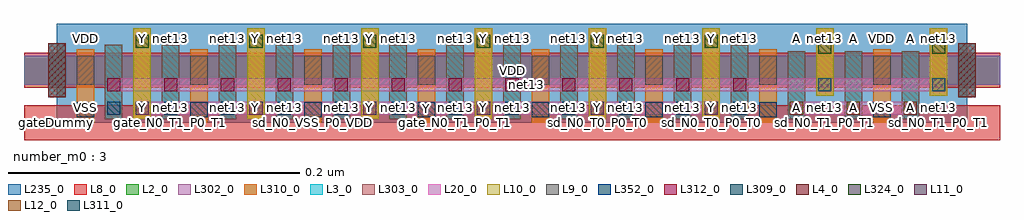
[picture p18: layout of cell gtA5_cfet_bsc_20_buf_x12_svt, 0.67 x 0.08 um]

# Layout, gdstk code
import gdstk
lib = gdstk.Library(unit=1e-6, precision=2.5e-10)
def R(c, l, rs):  # rectangles x0, y0, x1, y1
    for r in rs: c.add(gdstk.rectangle(r[:2], r[2:], *l))
def A(c, l, x, y, w, h, nx, ny, dx, dy):  # array of equal rectangles
    R(c, l, [(x+i*dx, y+j*dy, x+i*dx+w, y+j*dy+h) for i in range(nx) for j in range(ny)])
L2_0 = (2, 0)
L3_0 = (3, 0)
L4_0 = (4, 0)
L8_0 = (8, 0)
L9_0 = (9, 0)
L10_0 = (10, 0)
L11_0 = (11, 0)
L12_0 = (12, 0)
L20_0 = (20, 0)
L235_0 = (235, 0)
L302_0 = (302, 0)
L303_0 = (303, 0)
L309_0 = (309, 0)
L310_0 = (310, 0)
L311_0 = (311, 0)
L312_0 = (312, 0)
L324_0 = (324, 0)
L352_0 = (352, 0)

gta5_cfet_bsc_20_buf_x12 = lib.new_cell('gtA5_cfet_bsc_20_buf_x12_svt')
R(gta5_cfet_bsc_20_buf_x12, L2_0, [(-0.0225,0.026,0.6465,0.046)])
A(gta5_cfet_bsc_20_buf_x12, L3_0, 0.033, 0.0025, 0.012, 0.051, 12, 1, 0.039, 0)
A(gta5_cfet_bsc_20_buf_x12, L3_0, 0.501, 0.0025, 0.012, 0.0465, 3, 1, 0.039, 0)
R(gta5_cfet_bsc_20_buf_x12, L3_0, [(-0.006,0.0175,0.006,0.0545), (0.618,0.0175,0.63,0.0545)])
R(gta5_cfet_bsc_20_buf_x12, L4_0, [(-0.006,0.0175,0.006,0.0545), (0.618,0.0175,0.63,0.0545)])
R(gta5_cfet_bsc_20_buf_x12, L8_0, [(-0.0225,-0.012,0.6465,0.012), (-0.0225,0.024,0.6465,0.048)])
A(gta5_cfet_bsc_20_buf_x12, L9_0, 0.0135, 0.026, 0.012, 0.02, 8, 1, 0.078, 0)
A(gta5_cfet_bsc_20_buf_x12, L10_0, 0.0525, 0.0025, 0.012, 0.0625, 6, 1, 0.078, 0)
R(gta5_cfet_bsc_20_buf_x12, L10_0, [(0.5205,0.0185,0.5325,0.065), (0.5985,0.0185,0.6105,0.065)])
A(gta5_cfet_bsc_20_buf_x12, L11_0, 0.054, 0.0055, 0.009, 0.009, 6, 1, 0.078, 0)
A(gta5_cfet_bsc_20_buf_x12, L12_0, 0.5025, 0.0055, 0.009, 0.009, 3, 1, 0.039, 0)
R(gta5_cfet_bsc_20_buf_x12, L20_0, [(0.054,0.0055,0.453,0.0145), (0.5025,0.0055,0.5895,0.0145), (0.0345,0.0215,0.609,0.0305)])
R(gta5_cfet_bsc_20_buf_x12, L235_0, [(0,0,0.624,0.068)])
R(gta5_cfet_bsc_20_buf_x12, L302_0, [(-0.0225,0.026,0.6465,0.046)])
A(gta5_cfet_bsc_20_buf_x12, L303_0, 0.033, 0.0025, 0.012, 0.051, 12, 1, 0.039, 0)
A(gta5_cfet_bsc_20_buf_x12, L303_0, 0.501, 0.0025, 0.012, 0.0465, 3, 1, 0.039, 0)
R(gta5_cfet_bsc_20_buf_x12, L303_0, [(-0.006,0.0175,0.006,0.0545), (0.618,0.0175,0.63,0.0545)])
A(gta5_cfet_bsc_20_buf_x12, L309_0, 0.0135, 0.004, 0.012, 0.01, 8, 1, 0.078, 0)
A(gta5_cfet_bsc_20_buf_x12, L310_0, 0.0135, 0, 0.012, 0.0505, 8, 1, 0.078, 0)
A(gta5_cfet_bsc_20_buf_x12, L310_0, 0.0525, 0.0025, 0.012, 0.0625, 6, 1, 0.078, 0)
R(gta5_cfet_bsc_20_buf_x12, L310_0, [(0.5205,0.0185,0.5325,0.065), (0.5985,0.0185,0.6105,0.065)])
R(gta5_cfet_bsc_20_buf_x12, L311_0, [(0.522,0.0215,0.531,0.0305), (0.6,0.0215,0.609,0.0305)])
A(gta5_cfet_bsc_20_buf_x12, L312_0, 0.0345, 0.0215, 0.009, 0.009, 12, 1, 0.039, 0)
A(gta5_cfet_bsc_20_buf_x12, L324_0, 0.054, 0.0515, 0.009, 0.009, 6, 1, 0.078, 0)
R(gta5_cfet_bsc_20_buf_x12, L324_0, [(0.522,0.0475,0.531,0.0565), (0.6,0.0475,0.609,0.0565)])
A(gta5_cfet_bsc_20_buf_x12, L352_0, 0.0345, 0.0055, 0.009, 0.009, 12, 1, 0.039, 0)
gta5_cfet_bsc_20_buf_x12.add(gdstk.Label('net13', (0.3217,0.026), layer=100, texttype=100))
gta5_cfet_bsc_20_buf_x12.add(gdstk.Label('gateDummy', (0,0), layer=103, texttype=103))
gta5_cfet_bsc_20_buf_x12.add(gdstk.Label('sd_N0_VSS_P0_VDD', (0.0195,0), layer=103, texttype=103))
gta5_cfet_bsc_20_buf_x12.add(gdstk.Label('gate_N0_T1_P0_T1', (0.039,0), layer=103, texttype=103))
gta5_cfet_bsc_20_buf_x12.add(gdstk.Label('sd_N0_T0_P0_T0', (0.0585,0), layer=103, texttype=103))
gta5_cfet_bsc_20_buf_x12.add(gdstk.Label('gate_N0_T1_P0_T1', (0.078,0), layer=103, texttype=103))
gta5_cfet_bsc_20_buf_x12.add(gdstk.Label('sd_N0_VSS_P0_VDD', (0.0975,0), layer=103, texttype=103))
gta5_cfet_bsc_20_buf_x12.add(gdstk.Label('gate_N0_T1_P0_T1', (0.117,0), layer=103, texttype=103))
gta5_cfet_bsc_20_buf_x12.add(gdstk.Label('sd_N0_T0_P0_T0', (0.1365,0), layer=103, texttype=103))
gta5_cfet_bsc_20_buf_x12.add(gdstk.Label('gate_N0_T1_P0_T1', (0.156,0), layer=103, texttype=103))
gta5_cfet_bsc_20_buf_x12.add(gdstk.Label('sd_N0_VSS_P0_VDD', (0.1755,0), layer=103, texttype=103))
gta5_cfet_bsc_20_buf_x12.add(gdstk.Label('gate_N0_T1_P0_T1', (0.195,0), layer=103, texttype=103))
gta5_cfet_bsc_20_buf_x12.add(gdstk.Label('sd_N0_T0_P0_T0', (0.2145,0), layer=103, texttype=103))
gta5_cfet_bsc_20_buf_x12.add(gdstk.Label('gate_N0_T1_P0_T1', (0.234,0), layer=103, texttype=103))
gta5_cfet_bsc_20_buf_x12.add(gdstk.Label('sd_N0_VSS_P0_VDD', (0.2535,0), layer=103, texttype=103))
gta5_cfet_bsc_20_buf_x12.add(gdstk.Label('gate_N0_T1_P0_T1', (0.273,0), layer=103, texttype=103))
gta5_cfet_bsc_20_buf_x12.add(gdstk.Label('sd_N0_T0_P0_T0', (0.2925,0), layer=103, texttype=103))
gta5_cfet_bsc_20_buf_x12.add(gdstk.Label('gate_N0_T1_P0_T1', (0.312,0), layer=103, texttype=103))
gta5_cfet_bsc_20_buf_x12.add(gdstk.Label('sd_N0_VSS_P0_VDD', (0.3315,0), layer=103, texttype=103))
gta5_cfet_bsc_20_buf_x12.add(gdstk.Label('gate_N0_T1_P0_T1', (0.351,0), layer=103, texttype=103))
gta5_cfet_bsc_20_buf_x12.add(gdstk.Label('sd_N0_T0_P0_T0', (0.3705,0), layer=103, texttype=103))
gta5_cfet_bsc_20_buf_x12.add(gdstk.Label('gate_N0_T1_P0_T1', (0.39,0), layer=103, texttype=103))
gta5_cfet_bsc_20_buf_x12.add(gdstk.Label('sd_N0_VSS_P0_VDD', (0.4095,0), layer=103, texttype=103))
gta5_cfet_bsc_20_buf_x12.add(gdstk.Label('gate_N0_T1_P0_T1', (0.429,0), layer=103, texttype=103))
gta5_cfet_bsc_20_buf_x12.add(gdstk.Label('sd_N0_T0_P0_T0', (0.4485,0), layer=103, texttype=103))
gta5_cfet_bsc_20_buf_x12.add(gdstk.Label('gate_N0_T1_P0_T1', (0.468,0), layer=103, texttype=103))
gta5_cfet_bsc_20_buf_x12.add(gdstk.Label('sd_N0_VSS_P0_VDD', (0.4875,0), layer=103, texttype=103))
gta5_cfet_bsc_20_buf_x12.add(gdstk.Label('gate_N0_T0_P0_T0', (0.507,0), layer=103, texttype=103))
gta5_cfet_bsc_20_buf_x12.add(gdstk.Label('sd_N0_T1_P0_T1', (0.5265,0), layer=103, texttype=103))
gta5_cfet_bsc_20_buf_x12.add(gdstk.Label('gate_N0_T0_P0_T0', (0.546,0), layer=103, texttype=103))
gta5_cfet_bsc_20_buf_x12.add(gdstk.Label('sd_N0_VSS_P0_VDD', (0.5655,0), layer=103, texttype=103))
gta5_cfet_bsc_20_buf_x12.add(gdstk.Label('gate_N0_T0_P0_T0', (0.585,0), layer=103, texttype=103))
gta5_cfet_bsc_20_buf_x12.add(gdstk.Label('sd_N0_T1_P0_T1', (0.6045,0), layer=103, texttype=103))
gta5_cfet_bsc_20_buf_x12.add(gdstk.Label('gateDummy', (0.624,0), layer=103, texttype=103))
gta5_cfet_bsc_20_buf_x12.add(gdstk.Label('}', (0,-0.0742), layer=104, texttype=104))
gta5_cfet_bsc_20_buf_x12.add(gdstk.Label('  power : None', (0,-0.0675), layer=104, texttype=104))
gta5_cfet_bsc_20_buf_x12.add(gdstk.Label('  performance : None', (0,-0.0607), layer=104, texttype=104))
gta5_cfet_bsc_20_buf_x12.add(gdstk.Label("  solution_hash : '11461246453546149846'", (0,-0.054), layer=104, texttype=104))
gta5_cfet_bsc_20_buf_x12.add(gdstk.Label('  number_m2 : 0', (0,-0.0473), layer=104, texttype=104))
gta5_cfet_bsc_20_buf_x12.add(gdstk.Label('  number_m1 : 0', (0,-0.0405), layer=104, texttype=104))
gta5_cfet_bsc_20_buf_x12.add(gdstk.Label('  number_m0cuts : 0', (0,-0.0338), layer=104, texttype=104))
gta5_cfet_bsc_20_buf_x12.add(gdstk.Label('  number_m0 : 3', (0,-0.027), layer=104, texttype=104))
gta5_cfet_bsc_20_buf_x12.add(gdstk.Label("  solution_number : '0000'", (0,-0.0203), layer=104, texttype=104))
gta5_cfet_bsc_20_buf_x12.add(gdstk.Label("  placement_id : '15716243056672750085'", (0,-0.0135), layer=104, texttype=104))
gta5_cfet_bsc_20_buf_x12.add(gdstk.Label('{', (0,-0.0067), layer=104, texttype=104))
gta5_cfet_bsc_20_buf_x12.add(gdstk.Label('VSS', (0.0195,0.0103), layer=105, texttype=105))
gta5_cfet_bsc_20_buf_x12.add(gdstk.Label('net13', (0.039,0.0103), layer=105, texttype=105))
gta5_cfet_bsc_20_buf_x12.add(gdstk.Label('Y', (0.0585,0.0103), layer=105, texttype=105))
gta5_cfet_bsc_20_buf_x12.add(gdstk.Label('net13', (0.078,0.0103), layer=105, texttype=105))
gta5_cfet_bsc_20_buf_x12.add(gdstk.Label('VSS', (0.0975,0.0103), layer=105, texttype=105))
gta5_cfet_bsc_20_buf_x12.add(gdstk.Label('net13', (0.117,0.0103), layer=105, texttype=105))
gta5_cfet_bsc_20_buf_x12.add(gdstk.Label('Y', (0.1365,0.0103), layer=105, texttype=105))
gta5_cfet_bsc_20_buf_x12.add(gdstk.Label('net13', (0.156,0.0103), layer=105, texttype=105))
gta5_cfet_bsc_20_buf_x12.add(gdstk.Label('VSS', (0.1755,0.0103), layer=105, texttype=105))
gta5_cfet_bsc_20_buf_x12.add(gdstk.Label('net13', (0.195,0.0103), layer=105, texttype=105))
gta5_cfet_bsc_20_buf_x12.add(gdstk.Label('Y', (0.2145,0.0103), layer=105, texttype=105))
gta5_cfet_bsc_20_buf_x12.add(gdstk.Label('net13', (0.234,0.0103), layer=105, texttype=105))
gta5_cfet_bsc_20_buf_x12.add(gdstk.Label('VSS', (0.2535,0.0103), layer=105, texttype=105))
gta5_cfet_bsc_20_buf_x12.add(gdstk.Label('net13', (0.273,0.0103), layer=105, texttype=105))
gta5_cfet_bsc_20_buf_x12.add(gdstk.Label('Y', (0.2925,0.0103), layer=105, texttype=105))
gta5_cfet_bsc_20_buf_x12.add(gdstk.Label('net13', (0.312,0.0103), layer=105, texttype=105))
gta5_cfet_bsc_20_buf_x12.add(gdstk.Label('VSS', (0.3315,0.0103), layer=105, texttype=105))
gta5_cfet_bsc_20_buf_x12.add(gdstk.Label('net13', (0.351,0.0103), layer=105, texttype=105))
gta5_cfet_bsc_20_buf_x12.add(gdstk.Label('Y', (0.3705,0.0103), layer=105, texttype=105))
gta5_cfet_bsc_20_buf_x12.add(gdstk.Label('net13', (0.39,0.0103), layer=105, texttype=105))
gta5_cfet_bsc_20_buf_x12.add(gdstk.Label('VSS', (0.4095,0.0103), layer=105, texttype=105))
gta5_cfet_bsc_20_buf_x12.add(gdstk.Label('net13', (0.429,0.0103), layer=105, texttype=105))
gta5_cfet_bsc_20_buf_x12.add(gdstk.Label('Y', (0.4485,0.0103), layer=105, texttype=105))
gta5_cfet_bsc_20_buf_x12.add(gdstk.Label('net13', (0.468,0.0103), layer=105, texttype=105))
gta5_cfet_bsc_20_buf_x12.add(gdstk.Label('VSS', (0.4875,0.0103), layer=105, texttype=105))
gta5_cfet_bsc_20_buf_x12.add(gdstk.Label('A', (0.507,0.0103), layer=105, texttype=105))
gta5_cfet_bsc_20_buf_x12.add(gdstk.Label('net13', (0.5265,0.0103), layer=105, texttype=105))
gta5_cfet_bsc_20_buf_x12.add(gdstk.Label('A', (0.546,0.0103), layer=105, texttype=105))
gta5_cfet_bsc_20_buf_x12.add(gdstk.Label('VSS', (0.5655,0.0103), layer=105, texttype=105))
gta5_cfet_bsc_20_buf_x12.add(gdstk.Label('A', (0.585,0.0103), layer=105, texttype=105))
gta5_cfet_bsc_20_buf_x12.add(gdstk.Label('net13', (0.6045,0.0103), layer=105, texttype=105))
gta5_cfet_bsc_20_buf_x12.add(gdstk.Label('VDD', (0.0195,0.0578), layer=105, texttype=105))
gta5_cfet_bsc_20_buf_x12.add(gdstk.Label('net13', (0.039,0.0578), layer=105, texttype=105))
gta5_cfet_bsc_20_buf_x12.add(gdstk.Label('Y', (0.0585,0.0578), layer=105, texttype=105))
gta5_cfet_bsc_20_buf_x12.add(gdstk.Label('net13', (0.078,0.0578), layer=105, texttype=105))
gta5_cfet_bsc_20_buf_x12.add(gdstk.Label('VDD', (0.0975,0.0578), layer=105, texttype=105))
gta5_cfet_bsc_20_buf_x12.add(gdstk.Label('net13', (0.117,0.0578), layer=105, texttype=105))
gta5_cfet_bsc_20_buf_x12.add(gdstk.Label('Y', (0.1365,0.0578), layer=105, texttype=105))
gta5_cfet_bsc_20_buf_x12.add(gdstk.Label('net13', (0.156,0.0578), layer=105, texttype=105))
gta5_cfet_bsc_20_buf_x12.add(gdstk.Label('VDD', (0.1755,0.0578), layer=105, texttype=105))
gta5_cfet_bsc_20_buf_x12.add(gdstk.Label('net13', (0.195,0.0578), layer=105, texttype=105))
gta5_cfet_bsc_20_buf_x12.add(gdstk.Label('Y', (0.2145,0.0578), layer=105, texttype=105))
gta5_cfet_bsc_20_buf_x12.add(gdstk.Label('net13', (0.234,0.0578), layer=105, texttype=105))
gta5_cfet_bsc_20_buf_x12.add(gdstk.Label('VDD', (0.2535,0.0578), layer=105, texttype=105))
gta5_cfet_bsc_20_buf_x12.add(gdstk.Label('net13', (0.273,0.0578), layer=105, texttype=105))
gta5_cfet_bsc_20_buf_x12.add(gdstk.Label('Y', (0.2925,0.0578), layer=105, texttype=105))
gta5_cfet_bsc_20_buf_x12.add(gdstk.Label('net13', (0.312,0.0578), layer=105, texttype=105))
gta5_cfet_bsc_20_buf_x12.add(gdstk.Label('VDD', (0.3315,0.0578), layer=105, texttype=105))
gta5_cfet_bsc_20_buf_x12.add(gdstk.Label('net13', (0.351,0.0578), layer=105, texttype=105))
gta5_cfet_bsc_20_buf_x12.add(gdstk.Label('Y', (0.3705,0.0578), layer=105, texttype=105))
gta5_cfet_bsc_20_buf_x12.add(gdstk.Label('net13', (0.39,0.0578), layer=105, texttype=105))
gta5_cfet_bsc_20_buf_x12.add(gdstk.Label('VDD', (0.4095,0.0578), layer=105, texttype=105))
gta5_cfet_bsc_20_buf_x12.add(gdstk.Label('net13', (0.429,0.0578), layer=105, texttype=105))
gta5_cfet_bsc_20_buf_x12.add(gdstk.Label('Y', (0.4485,0.0578), layer=105, texttype=105))
gta5_cfet_bsc_20_buf_x12.add(gdstk.Label('net13', (0.468,0.0578), layer=105, texttype=105))
gta5_cfet_bsc_20_buf_x12.add(gdstk.Label('VDD', (0.4875,0.0578), layer=105, texttype=105))
gta5_cfet_bsc_20_buf_x12.add(gdstk.Label('A', (0.507,0.0578), layer=105, texttype=105))
gta5_cfet_bsc_20_buf_x12.add(gdstk.Label('net13', (0.5265,0.0578), layer=105, texttype=105))
gta5_cfet_bsc_20_buf_x12.add(gdstk.Label('A', (0.546,0.0578), layer=105, texttype=105))
gta5_cfet_bsc_20_buf_x12.add(gdstk.Label('VDD', (0.5655,0.0578), layer=105, texttype=105))
gta5_cfet_bsc_20_buf_x12.add(gdstk.Label('A', (0.585,0.0578), layer=105, texttype=105))
gta5_cfet_bsc_20_buf_x12.add(gdstk.Label('net13', (0.6045,0.0578), layer=105, texttype=105))
gta5_cfet_bsc_20_buf_x12.add(gdstk.Label('VSS', (0.312,0), layer=8, texttype=0))
gta5_cfet_bsc_20_buf_x12.add(gdstk.Label('VDD', (0.312,0.036), layer=8, texttype=0))
gta5_cfet_bsc_20_buf_x12.add(gdstk.Label('Y', (0.2535,0.01), layer=20, texttype=251))
gta5_cfet_bsc_20_buf_x12.add(gdstk.Label('A', (0.546,0.01), layer=20, texttype=251))
gta5_cfet_bsc_20_buf_x12.add(gdstk.Label('gtA5_cfet_bsc_20nm_buf_x12_rvt_0', (0,0), layer=235, texttype=0))

lib.write_gds('gtA5_cfet_bsc_20_buf_x12_svt.gds')
